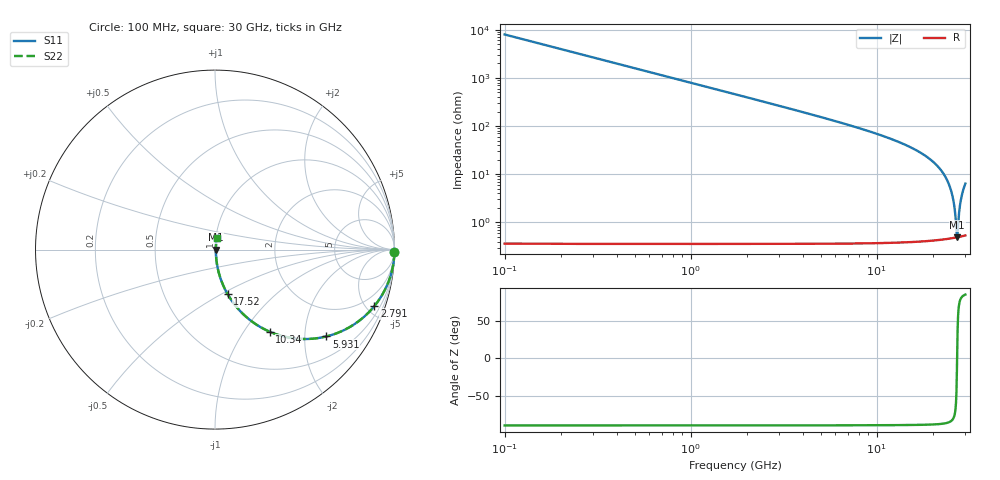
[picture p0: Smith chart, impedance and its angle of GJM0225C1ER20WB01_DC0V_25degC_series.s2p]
!Murata Part Number: GJM0225C1ER20WB01
!These Parameters are Measured in Series Mode Connection
!  o--ll--o
!Port1  Port2
!  o------o
!Operation Temp=25[degC], DC Bias Voltage=0[V]
!Freq. Start=100[MHz] Stop=30[GHz], 401[Steps]
!Data Generated on Feb 1, 2023
# Hz S RI R 50
!Freq.(Hz) S11(Real) S11(Imag) S21(Real) S21(Imag) S12(Real) S12(Imag) S22(Real) S22(Imag)
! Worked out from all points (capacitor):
!   401 points, 100 MHz to 30 GHz, reference 50 ohm
!   read as one part in series: C = 200 fF near 249.5 MHz
!   lowest |Z| = 490 mohm at 27.08 GHz (marker M1)
!   series resonance near 27.07 GHz, so ESL is about 170 pH
!   S11 on the Smith chart (normalised r, x): 100 MHz: open; 2.791 GHz: 1.01, -5.64; 5.931 GHz: 1.01, -2.56; 10.34 GHz: 1.01, -1.32; 17.52 GHz: 1.01, -0.54; 30 GHz: 1.01, +0.13
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1e8  0.9998 -0.0126  0.000158 0.0126  0.000158 0.0126  0.9998 -0.0126
4.7375e8  0.9965 -0.0593  0.00355 0.0593  0.00355 0.0593  0.9965 -0.0593
9.2225e8  0.9867 -0.1145  0.0133 0.1145  0.0133 0.1145  0.9867 -0.1145
1.66975e9  0.9574 -0.2016  0.0426 0.2016  0.0426 0.2016  0.9574 -0.2016
2.791e9  0.8881 -0.3146  0.1119 0.3146  0.1119 0.3146  0.8881 -0.3146
5.10825e9  0.6931 -0.46  0.3069 0.46  0.3069 0.46  0.6931 -0.46
5.9305e9  0.6205 -0.4839  0.3795 0.4839  0.3795 0.4839  0.6205 -0.4839
1.01165e10  0.3172 -0.4627  0.6828 0.4627  0.6828 0.4627  0.3172 -0.4627
1.034075e10  0.3049 -0.4576  0.6951 0.4576  0.6951 0.4576  0.3049 -0.4576
1.505e10  0.1227 -0.3229  0.8773 0.3229  0.8773 0.3229  0.1227 -0.3229
1.751675e10  0.0703 -0.2483  0.9297 0.2483  0.9297 0.2483  0.0703 -0.2483
2.005825e10  0.0361 -0.1753  0.9639 0.1753  0.9639 0.1753  0.0361 -0.1753
2.304825e10  0.0137 -0.0959  0.9863 0.0959  0.9863 0.0959  0.0137 -0.0959
2.50665e10  0.00678 -0.0463  0.9932 0.0463  0.9932 0.0463  0.00678 -0.0463
2.618775e10  0.00515 -0.0201  0.9948 0.0201  0.9948 0.0201  0.00515 -0.0201
2.65615e10  0.00493 -0.0115  0.9951 0.0115  0.9951 0.0115  0.00493 -0.0115
2.693525e10  0.00486 -0.00307  0.9951 0.00307  0.9951 0.00307  0.00486 -0.00307
2.708475e10  0.00487 0.000279  0.9951 -0.000279  0.9951 -0.000279  0.00487 0.000279
2.77575e10  0.00519 0.0152  0.9948 -0.0152  0.9948 -0.0152  0.00519 0.0152
2.8206e10  0.00565 0.0249  0.9943 -0.0249  0.9943 -0.0249  0.00565 0.0249
2.902825e10  0.00697 0.0425  0.993 -0.0425  0.993 -0.0425  0.00697 0.0425
3e10  0.00929 0.0627  0.9907 -0.0627  0.9907 -0.0627  0.00929 0.0627
